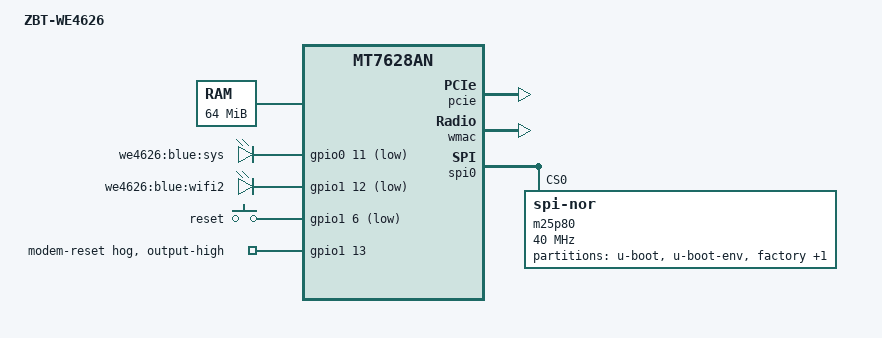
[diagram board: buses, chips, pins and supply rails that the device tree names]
// SPDX-License-Identifier: GPL-2.0-or-later OR MIT
/dts-v1/;

#include "mt7628an.dtsi"

#include <dt-bindings/gpio/gpio.h>
#include <dt-bindings/input/input.h>

/ {
	compatible = "zbtlink,zbt-we4626", "mediatek,mt7628dan";
	model = "ZBT-WE4626";

	aliases {
		led-boot = &led_sys;
		led-failsafe = &led_sys;
		led-running = &led_sys;
		led-upgrade = &led_sys;
	};

	memory@0 {
		device_type = "memory";
		reg = <0x0 0x4000000>;
	};

	leds {
		compatible = "gpio-leds";

		led_sys: sys {
			label = "we4626:blue:sys";
			gpios = <&gpio0 11 GPIO_ACTIVE_LOW>;
		};
		wifi {
			label = "we4626:blue:wifi2";
			gpios = <&gpio1 12 GPIO_ACTIVE_LOW>;
			linux,default-trigger = "phy0tpt";
		};
	};

	keys {
		compatible = "gpio-keys-polled";
		poll-interval = <20>;

		reset {
			label = "reset";
			gpios = <&gpio1 6 GPIO_ACTIVE_LOW>;
			linux,code = <KEY_RESTART>;
		};
	};
};

&gpio1 {
	gpio_modem_reset {
		gpio-hog;
		gpios = <13 GPIO_ACTIVE_HIGH>;
		output-high;
		line-name = "modem-reset";
	};
};

&pinctrl {
        sdxc_router_pins: sdxc_router_mode {
                gpio {
                        ralink,group = "i2s", "sdmode", "uart1", "gpio";
                        ralink,function = "gpio";
                };

                esdmode {
                        ralink,group = "esdmode";
                        ralink,function = "sdxc";
                };
        };
        state_default: pinctrl0 {
                gpio {
                        ralink,group = "p0led_an", "p1led_an", "p2led_an", "p3led_an", "p4led_an", "wdt", "wled_an";
                        ralink,function = "gpio";
                };
        };
};

&pcie {
	status = "okay";
};

&pcie0 {
	mt76@0,0 {
		reg = <0x0000 0 0 0 0>;
		mediatek,mtd-eeprom = <&factory 0x8000>;
		ieee80211-freq-limit = <5000000 6000000>;
	};
};

&wmac {
	status = "okay";
};

&ethernet {
	mtd-mac-address = <&factory 0x28>;
};

&spi0 {
	status = "okay";

	m25p80@0 {
		compatible = "jedec,spi-nor";
		reg = <0>;
		spi-max-frequency = <40000000>;

		partitions {
			compatible = "fixed-partitions";
			#address-cells = <1>;
			#size-cells = <1>;

			partition@0 {
				label = "u-boot";
				reg = <0x0 0x30000>;
				read-only;
			};

			partition@30000 {
				label = "u-boot-env";
				reg = <0x30000 0x10000>;
				read-only;
			};

			factory: partition@40000 {
				label = "factory";
				reg = <0x40000 0x10000>;
				read-only;
			};

			partition@50000 {
				compatible = "denx,uimage";
				label = "firmware";
				reg = <0x50000 0x7b0000>;
			};
		};
	};
};
